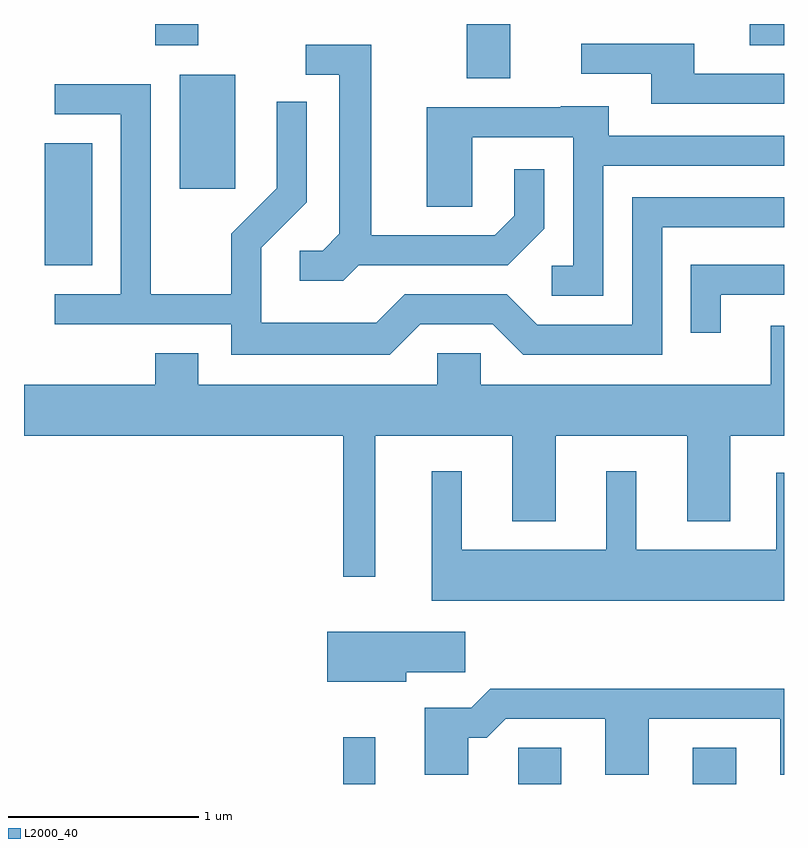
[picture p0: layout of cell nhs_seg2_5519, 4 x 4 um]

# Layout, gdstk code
import gdstk
lib = gdstk.Library(unit=1e-6, precision=1e-09)
def R(c, l, rs):  # rectangles x0, y0, x1, y1
    for r in rs: c.add(gdstk.rectangle(r[:2], r[2:], *l))
def P(c, l, *ps):  # polygons
    for p in ps: c.add(gdstk.Polygon(p, *l))
L2000_40 = (2000, 40)

nhs_seg2_5519 = lib.new_cell('nhs_seg2_5519')
R(nhs_seg2_5519, L2000_40, [(349.291,1059.802,349.459,1060.048), (350.211,1059.802,350.439,1059.994), (351.131,1059.802,351.359,1059.994), (347.721,1062.531,347.969,1063.174), (348.431,1062.936,348.724,1063.534), (349.941,1063.516,350.169,1063.802), (348.301,1063.691,348.529,1063.802), (351.431,1063.691,351.611,1063.802)])
P(nhs_seg2_5519, L2000_40, [(351.611,1063.539),(351.139,1063.539),(351.139,1063.699),(350.543,1063.699),(350.543,1063.541),(350.911,1063.541),(350.911,1063.381),(351.611,1063.381)],
  [(349.372,1062.531),(350.157,1062.531),(350.349,1062.724),(350.349,1063.038),(350.191,1063.038),(350.191,1062.792),(350.089,1062.689),(349.439,1062.689),(349.439,1063.694),(349.093,1063.694),(349.093,1063.536),(349.271,1063.536),(349.271,1062.697),(349.184,1062.609),(349.063,1062.609),(349.063,1062.451),(349.292,1062.451)],
  [(349.697,1062.221),(350.079,1062.221),(350.239,1062.061),(350.969,1062.061),(350.969,1062.731),(351.611,1062.731),(351.611,1062.889),(350.811,1062.889),(350.811,1062.219),(350.312,1062.219),(350.152,1062.379),(349.614,1062.379),(349.464,1062.229),(348.859,1062.229),(348.859,1062.624),(349.099,1062.864),(349.099,1063.393),(348.941,1063.393),(348.941,1062.937),(348.701,1062.697),(348.701,1062.379),(348.279,1062.379),(348.279,1063.484),(347.773,1063.484),(347.773,1063.326),(348.121,1063.326),(348.121,1062.379),(347.773,1062.379),(347.773,1062.221),(348.701,1062.221),(348.701,1062.061),(349.537,1062.061)],
  [(350.659,1063.056),(351.611,1063.056),(351.611,1063.214),(350.689,1063.214),(350.689,1063.369),(350.435,1063.369),(350.435,1063.364),(349.731,1063.364),(349.731,1062.841),(349.969,1062.841),(349.969,1063.206),(350.501,1063.206),(350.501,1062.529),(350.388,1062.529),(350.388,1062.371),(350.659,1062.371)],
  [(351.279,1062.376),(351.611,1062.376),(351.611,1062.534),(351.121,1062.534),(351.121,1062.178),(351.279,1062.178)],
  [(349.459,1061.636),(350.181,1061.636),(350.181,1061.186),(350.409,1061.186),(350.409,1061.636),(351.101,1061.636),(351.101,1061.186),(351.329,1061.186),(351.329,1061.636),(351.611,1061.636),(351.611,1062.214),(351.541,1062.214),(351.541,1061.904),(350.014,1061.904),(350.014,1062.069),(349.786,1062.069),(349.786,1061.904),(348.529,1061.904),(348.529,1062.069),(348.301,1062.069),(348.301,1061.904),(347.611,1061.904),(347.611,1061.636),(349.291,1061.636),(349.291,1060.893),(349.459,1060.893)],
  [(351.611,1061.439),(351.571,1061.439),(351.571,1061.034),(350.834,1061.034),(350.834,1061.448),(350.676,1061.448),(350.676,1061.034),(349.914,1061.034),(349.914,1061.448),(349.756,1061.448),(349.756,1060.766),(351.611,1060.766)],
  [(349.624,1060.391),(349.934,1060.391),(349.934,1060.604),(349.206,1060.604),(349.206,1060.341),(349.624,1060.341)],
  [(349.949,1060.046),(350.047,1060.046),(350.147,1060.146),(350.671,1060.146),(350.671,1059.851),(350.899,1059.851),(350.899,1060.146),(351.591,1060.146),(351.591,1059.851),(351.611,1059.851),(351.611,1060.304),(350.064,1060.304),(349.964,1060.204),(349.721,1060.204),(349.721,1059.851),(349.949,1059.851)])

lib.write_gds('nhs_seg2_5519.gds')
